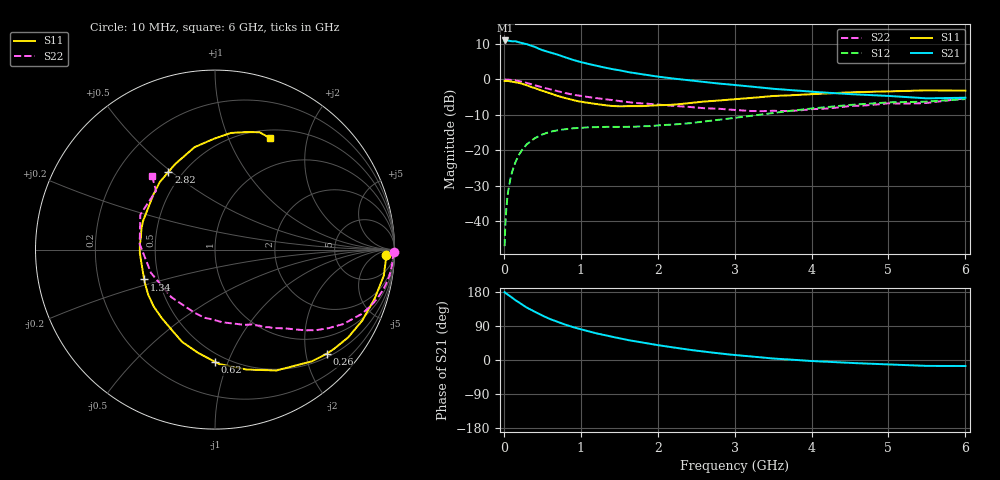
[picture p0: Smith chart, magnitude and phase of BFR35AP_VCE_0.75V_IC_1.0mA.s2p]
! Infineon Technologies  Discrete & RF Semiconductors
! BFR35AP
! VCE = 0.75 V,  IC =  1.0 mA
! Common Emitter S-Parameters:  Nov 2015
# GHz  S  MA  R  50
!  f  S11  S21  S12  S22
! GHz  MAG  ANG  MAG  ANG  MAG  ANG  MAG  ANG
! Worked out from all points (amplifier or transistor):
!   210 points, 10 MHz to 6 GHz, reference 50 ohm
!   highest |S21| = 11.0 dB at 20 MHz (marker M1)
!   |S21| within 3 dB of that: start of sweep to 540.4 MHz
!   unconditionally stable (mu >= 1): 1.328 GHz to end of sweep
!   at 185 MHz: K = 0.17, MSG = 16.2 dB, |S12| = -21.8 dB
!   at 1.52 GHz: K = 1.12, MAG = 5.9 dB, |S12| = -13.5 dB
!   at 6 GHz: K = 1.10, MAG = -1.7 dB, |S12| = -5.6 dB
!   S11 on the Smith chart (normalised r, x): 10 MHz: 30, -18; 260 MHz: 0.58, -2.42; 620 MHz: 0.44, -0.90; 1.34 GHz: 0.41, -0.17; 2.82 GHz: 0.42, +0.49; 6 GHz: 0.60, +1.43
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0.01  0.9517 -1.7  3.462 179.0  0.0044 88.4  0.9996 -0.8
0.02  0.9535 -3.6  3.543 177.0  0.009 89.7  0.9932 -1.8
0.045  0.9514 -7.9  3.542 173.6  0.0209 84.3  0.9913 -4.0
0.09  0.9332 -15.3  3.467 167.3  0.0414 79.8  0.9837 -7.9
0.15  0.9107 -25.8  3.459 157.8  0.0672 73.6  0.9653 -13.2
0.26  0.851 -43.0  3.2 143.3  0.1084 63.0  0.9112 -21.3
0.3  0.8238 -49.1  3.138 138.1  0.1212 59.8  0.8888 -24.0
0.4  0.7553 -63.1  2.885 127.5  0.147 51.9  0.8277 -30.0
0.5  0.6913 -75.2  2.59 117.1  0.1664 45.8  0.7716 -34.5
0.62  0.6252 -90.0  2.367 106.6  0.1835 39.7  0.7151 -38.8
0.8  0.5457 -109.7  2.045 93.2  0.198 32.9  0.6394 -44.2
1.02  0.4791 -129.5  1.734 80.1  0.2076 27.6  0.5791 -49.2
1.34  0.4276 -157.1  1.445 64.3  0.2131 23.4  0.5201 -56.1
1.6  0.4194 -177.5  1.274 53.0  0.2136 23.2  0.4805 -61.5
2.02  0.4316 157.1  1.087 38.6  0.2242 25.1  0.439 -71.5
2.82  0.5053 120.9  0.867 17.1  0.2695 29.1  0.3823 -99.4
3.1  0.5345 112.0  0.814 11.4  0.2957 28.9  0.3628 -112.5
4.1  0.6243 88.8  0.658 -3.7  0.3969 21.7  0.382 -165.2
4.5  0.6558 82.3  0.619 -7.8  0.4354 16.9  0.4206 175.8
5.1  0.6808 74.0  0.574 -12.4  0.4746 8.3  0.4561 150.9
5.5  0.6993 69.2  0.539 -15.6  0.4849 2.4  0.4642 135.1
6  0.6924 63.8  0.55 -15.9  0.5264 -1.6  0.5388 130.5
